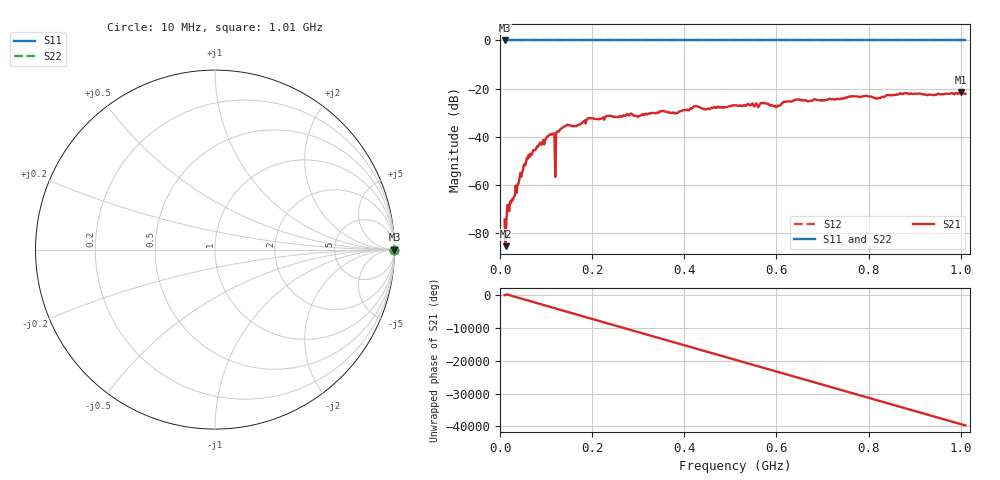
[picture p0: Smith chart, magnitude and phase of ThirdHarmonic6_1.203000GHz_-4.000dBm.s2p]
! 8/16/2025 12:28:04 PM
! C:\ANRITSUVNA\TEMP\TEMP.S2P
! CHANNEL.1
! TR.MEASUREMENT
! RAW.DATA
! RF.CORRECTION.OFF
! AVERAGING.OFF
! IF.BANDWIDTH: 5KHZ
! SWEEPTYPE:  FREQ.SWEEP(Linear)
! Reference Plane Port Info
! PORT:  PORT1  PORT2
! DISTANCE:  0  m  0  m
! TIME:  0  s  0  s
! PHASE.OFFSET:  0  deg.  0  deg.
! LOSS:  0  dB  0  dB
! REF.LOSS:  0  dB  0  dB
! REF.FREQ:  0  Hz  0  Hz
! Power Info
! POWER:  -20  dBm  -20  dBm
! EFF.POWER:  -20  dBm  -20  dBm
! SOURCE.ATTEN:  0  dB  0  dB
! TEST.ATTEN:  0  dB  0  dB
# GHZ S RI R 50.0
! FREQ.GHZ  S11RE  S11IM  S21RE  S21IM  S12RE  S12IM  S22RE  S22IM
!; PortSelection: Port_12
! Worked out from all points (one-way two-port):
!   501 points, 10 MHz to 1.01 GHz, reference 50 ohm
!   highest |S21| = -21.62 dB at 1 GHz (marker M1); lowest = -85.6 dB at 12 MHz (marker M2)
!   lowest |S11| = 0.0 dB at 10 MHz (marker M3)
!   |S11| at or under -10 dB: nowhere
!   |S22| runs from 0.0 to 0.0 dB; largest |S21 - S12| = 1.1
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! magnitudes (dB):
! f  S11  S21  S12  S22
! 10 MHz  0.0  -74.5  0.0  0.0
! 12 MHz  0.0  -85.6  0.0  0.0
! 20 MHz  0.0  -71.0  0.0  0.0
! 28 MHz  0.0  -66.4  0.0  0.0
! 62 MHz  0.0  -47.6  0.0  0.0
! 106 MHz  0.0  -39.6  0.0  0.0
! 114 MHz  0.0  -38.9  0.0  0.0
! 116 MHz  0.0  -38.6  0.0  0.0
! 124 MHz  0.0  -37.8  0.0  0.0
! 126 MHz  0.0  -38.0  0.0  0.0
! 136 MHz  0.0  -36.2  0.0  0.0
! 178 MHz  0.0  -34.4  0.0  0.0
! 194 MHz  0.0  -32.2  0.0  0.0
! 344 MHz  0.0  -30.0  0.0  0.0
! 510 MHz  0.0  -26.9  0.0  0.0
! 570 MHz  0.0  -26.0  0.0  0.0
! 602 MHz  0.0  -27.2  0.0  0.0
! 644 MHz  0.0  -24.5  0.0  0.0
! 678 MHz  0.0  -25.0  0.0  0.0
! 844 MHz  0.0  -22.7  0.0  0.0
! 1 GHz  0.0  -21.6  0.0  0.0
! 1.01 GHz  0.0  -22.2  0.0  0.0
